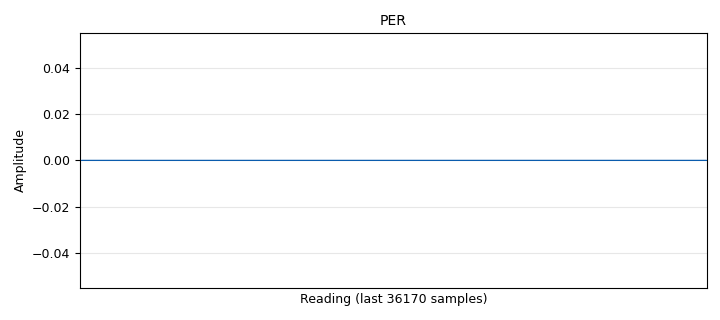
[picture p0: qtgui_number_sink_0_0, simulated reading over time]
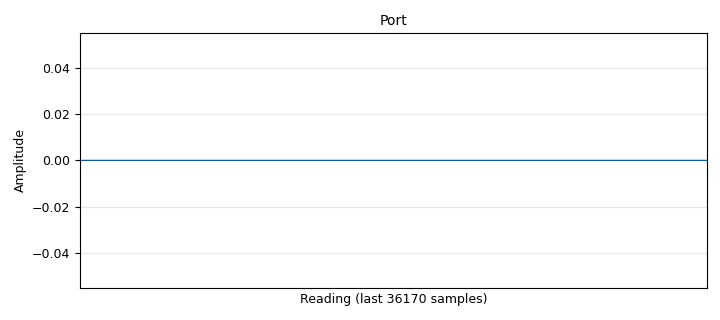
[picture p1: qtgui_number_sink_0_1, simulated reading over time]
<?xml version='1.0' encoding='utf-8'?>
<?grc format='1' created='3.7.12'?>
<flow_graph>
<block>
<key>options</key>
<param><key>id</key><value>top_block</value></param>
<param><key>generate_options</key><value>qt_gui</value></param>
</block>
<block>
<key>variable_qtgui_range</key>
<param><key>id</key><value>keep</value></param>
<param><key>value</key><value>20</value></param>
<param><key>orient</key><value>Qt.Horizontal</value></param>
<param><key>start</key><value>5</value></param>
<param><key>step</key><value>1</value></param>
<param><key>stop</key><value>20</value></param>
<param><key>rangeType</key><value>int</value></param>
</block>
<block>
<key>variable</key>
<param><key>id</key><value>new_port</value></param>
<param><key>value</key><value>int(np.round((port*2.4)))</value></param>
</block>
<block>
<key>variable_function_probe</key>
<param><key>id</key><value>port</value></param>
<param><key>block_id</key><value>probe</value></param>
<param><key>function_name</key><value>level</value></param>
<param><key>value</key><value>0</value></param>
<param><key>poll_rate</key><value>100000</value></param>
</block>
<block>
<key>variable</key>
<param><key>id</key><value>samp_rate</value></param>
<param><key>value</key><value>32000</value></param>
</block>
<block>
<key>RWN_selector_3_1_bb</key>
<param><key>id</key><value>RWN_selector_3_1_bb_0</value></param>
<param><key>consume_nonselected</key><value>True</value></param>
<param><key>selected</key><value>new_port</value></param>
</block>
<block>
<key>analog_const_source_x</key>
<param><key>id</key><value>analog_const_source_x_0</value></param>
<param><key>const</key><value>10</value></param>
<param><key>type</key><value>float</value></param>
</block>
<block>
<key>analog_const_source_x</key>
<param><key>id</key><value>analog_const_source_x_1</value></param>
<param><key>const</key><value>port</value></param>
<param><key>type</key><value>float</value></param>
</block>
<block>
<key>analog_const_source_x</key>
<param><key>id</key><value>analog_const_source_x_1_0</value></param>
<param><key>const</key><value>new_port</value></param>
<param><key>type</key><value>float</value></param>
</block>
<block>
<key>blocks_float_to_char</key>
<param><key>id</key><value>blocks_float_to_char_0</value></param>
<param><key>scale</key><value>1</value></param>
</block>
<block>
<key>blocks_keep_m_in_n</key>
<param><key>id</key><value>blocks_keep_m_in_n_0</value></param>
<param><key>m</key><value>keep</value></param>
<param><key>n</key><value>20</value></param>
<param><key>type</key><value>byte</value></param>
<param><key>offset</key><value>0</value></param>
</block>
<block>
<key>blocks_throttle</key>
<param><key>id</key><value>blocks_throttle_0</value></param>
<param><key>samples_per_second</key><value>samp_rate*100</value></param>
<param><key>type</key><value>byte</value></param>
</block>
<block>
<key>blocks_uchar_to_float</key>
<param><key>id</key><value>blocks_uchar_to_float_0</value></param>
</block>
<block>
<key>blocks_vector_source_x</key>
<param><key>id</key><value>blocks_vector_source_x_0</value></param>
<param><key>type</key><value>byte</value></param>
<param><key>repeat</key><value>True</value></param>
<param><key>vector</key><value>np.arange(256)</value></param>
</block>
<block>
<key>blocks_vector_source_x</key>
<param><key>id</key><value>blocks_vector_source_x_0_0</value></param>
<param><key>type</key><value>byte</value></param>
<param><key>repeat</key><value>True</value></param>
<param><key>vector</key><value>(0,0,0)</value></param>
</block>
<block>
<key>import</key>
<param><key>id</key><value>import_0</value></param>
<param><key>import</key><value>import numpy as np</value></param>
</block>
<block>
<key>epy_block</key>
<param><key>id</key><value>per_calc_test_probe</value></param>
<param><key>_source_code</key><value>"""
Embedded Python Blocks:

Each time this file is saved, GRC will instantiate the first class it finds
to get ports and parameters of your block. The arguments to __init__  will
be the parameters. All of them are required to have default values!
"""

import numpy as np
from gnuradio import gr


class blk(gr.sync_block):  # other base classes are basic_block, decim_block, interp_block
    """Embedded Python Block  - This block takes the packet numbers of the received window size packets and calculates the quantity of the lost packets
       As for today, it only works for window sizes multiples of the length of the data.
    """

    def __init__(self, window_size=1, modulus=1):  # only default arguments here
        """arguments to this function show up as parameters in GRC"""
        gr.sync_block.__init__(
            self,
            name='PER Calculator',   # will show up in GRC
            in_sig=[np.int8],
            out_sig=[np.float32]
        )
        # if an attribute with the same name as a parameter is found,
        # a callback is registered (properties work, too).
        self.window_size = window_size
        self.modulus = modulus
        self.set_history(window_size)


    def work(self, input_items, output_items):
        """example: multiply with constant"""
        # self.set_history(self.window_size)
        print("input size -&gt; {}".format(len(input_items[0])))
        consumed = (len(input_items[0])-self.window_size+1)
        if consumed &lt; self.window_size:
            print("Return input size -&gt; {}".format(len(input_items[0])))
            return 0    
            # per = erros + window_size
        for i in range(0 , consumed):
            # if self.window_size+i &lt; len(input_items[0]):
            observed = input_items[0][i:self.window_size+i]
            errors = sum((np.diff(observed) % self.modulus)-1)
            output_items[0][i]= float(errors)/(self.window_size+errors)
            # else:
            # 	print("loop input size -&gt; {}".format(len(input_items[0])))
            # 	print("consumed -&gt; {}".format(consumed))
            # 	print("i -&gt; {}".format(i))
            # 	observed = input_items[0][i:]
            #     errors = sum((np.diff(observed) % self.modulus)-1)
            #     output_items[0][i]= float(errors)/(self.window_size+errors)
            # if output_items[0][i] &lt;= 1 and output_items[0][i] &gt;= 0 and i%self.window_size==0: #printa uma vez apenas valores entre 0 e 1
            #     # print(i) 
            #     if output_items[0][i] &lt; 0.25:
            # 	    print("Erros -&gt;{} - Sugerido 8PSK SEM FEC" .format(output_items[0][i]))
            #     if output_items[0][i] &lt; 0.50 and output_items[0][i] &gt;= 0.25:
            #         print("Erros -&gt;{} - Sugerido QPSK SEM FEC" .format(output_items[0][i]))
            #     if output_items[0][i] &lt;= 0.75 and output_items[0][i] &gt;= 0.50:
            #         print("Erros -&gt;{} - Sugerido QPSK COM FEC" .format(output_items[0][i]))
            #     if output_items[0][i] &lt;= 1 and output_items[0][i] &gt;= 0.75:
            #         print("Erros -&gt;{} - Sugerido BPSK COM FEC" .format(output_items[0][i]))
        # self.consume(0,consumed)
        
        return len(output_items[0])
</value></param>
<param><key>modulus</key><value>256</value></param>
<param><key>window_size</key><value>10</value></param>
</block>
<block>
<key>blocks_probe_signal_x</key>
<param><key>id</key><value>probe</value></param>
<param><key>type</key><value>float</value></param>
</block>
<block>
<key>qtgui_number_sink</key>
<param><key>id</key><value>qtgui_number_sink_0_0</value></param>
<param><key>graph_type</key><value>qtgui.NUM_GRAPH_HORIZ</value></param>
<param><key>type</key><value>float</value></param>
<param><key>name</key><value>"PER"</value></param>
</block>
<block>
<key>qtgui_number_sink</key>
<param><key>id</key><value>qtgui_number_sink_0_1</value></param>
<param><key>graph_type</key><value>qtgui.NUM_GRAPH_HORIZ</value></param>
<param><key>type</key><value>float</value></param>
<param><key>name</key><value>"Port"</value></param>
<param><key>update_time</key><value>0.04</value></param>
</block>
<block>
<key>qtgui_number_sink</key>
<param><key>id</key><value>qtgui_number_sink_0_1_0</value></param>
<param><key>graph_type</key><value>qtgui.NUM_GRAPH_HORIZ</value></param>
<param><key>type</key><value>float</value></param>
<param><key>name</key><value>"New Port"</value></param>
<param><key>update_time</key><value>0.04</value></param>
</block>
<block>
<key>qtgui_time_sink_x</key>
<param><key>id</key><value>qtgui_time_sink_x_0</value></param>
<param><key>autoscale</key><value>True</value></param>
<param><key>color1</key><value>"blue"</value></param>
<param><key>label1</key><value></value></param>
<param><key>size</key><value>1024</value></param>
<param><key>srate</key><value>samp_rate</value></param>
<param><key>type</key><value>float</value></param>
</block>
<connection><source_block_id>RWN_selector_3_1_bb_0</source_block_id><sink_block_id>blocks_uchar_to_float_0</sink_block_id><source_key>0</source_key><sink_key>0</sink_key></connection>
<connection><source_block_id>analog_const_source_x_0</source_block_id><sink_block_id>blocks_float_to_char_0</sink_block_id><source_key>0</source_key><sink_key>0</sink_key></connection>
<connection><source_block_id>analog_const_source_x_1</source_block_id><sink_block_id>qtgui_number_sink_0_1</sink_block_id><source_key>0</source_key><sink_key>0</sink_key></connection>
<connection><source_block_id>analog_const_source_x_1_0</source_block_id><sink_block_id>qtgui_number_sink_0_1_0</sink_block_id><source_key>0</source_key><sink_key>0</sink_key></connection>
<connection><source_block_id>blocks_float_to_char_0</source_block_id><sink_block_id>RWN_selector_3_1_bb_0</sink_block_id><source_key>0</source_key><sink_key>0</sink_key></connection>
<connection><source_block_id>blocks_keep_m_in_n_0</source_block_id><sink_block_id>per_calc_test_probe</sink_block_id><source_key>0</source_key><sink_key>0</sink_key></connection>
<connection><source_block_id>blocks_throttle_0</source_block_id><sink_block_id>RWN_selector_3_1_bb_0</sink_block_id><source_key>0</source_key><sink_key>1</sink_key></connection>
<connection><source_block_id>blocks_throttle_0</source_block_id><sink_block_id>blocks_keep_m_in_n_0</sink_block_id><source_key>0</source_key><sink_key>0</sink_key></connection>
<connection><source_block_id>blocks_uchar_to_float_0</source_block_id><sink_block_id>qtgui_time_sink_x_0</sink_block_id><source_key>0</source_key><sink_key>0</sink_key></connection>
<connection><source_block_id>blocks_vector_source_x_0</source_block_id><sink_block_id>blocks_throttle_0</sink_block_id><source_key>0</source_key><sink_key>0</sink_key></connection>
<connection><source_block_id>blocks_vector_source_x_0_0</source_block_id><sink_block_id>RWN_selector_3_1_bb_0</sink_block_id><source_key>0</source_key><sink_key>2</sink_key></connection>
<connection><source_block_id>per_calc_test_probe</source_block_id><sink_block_id>probe</sink_block_id><source_key>0</source_key><sink_key>0</sink_key></connection>
<connection><source_block_id>per_calc_test_probe</source_block_id><sink_block_id>qtgui_number_sink_0_0</sink_block_id><source_key>0</source_key><sink_key>0</sink_key></connection>
</flow_graph>
